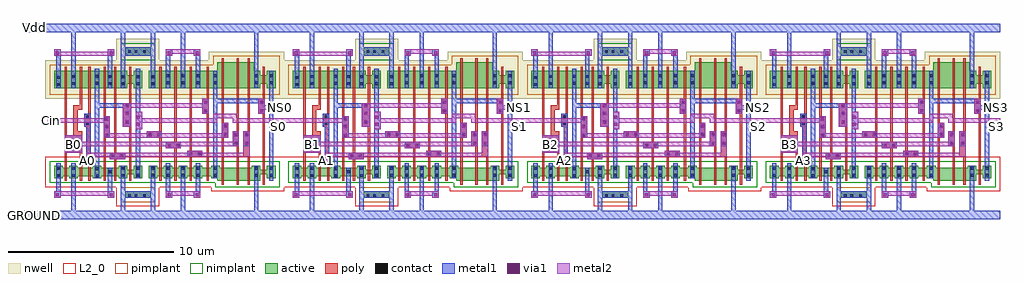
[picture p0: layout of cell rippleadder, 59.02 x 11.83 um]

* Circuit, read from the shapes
.subckt rippleadder A0 A1 A2 A3 B0 B1 B2 B3 Cin Cout GROUND NS0 NS1 NS2 NS3 S0 S1 S2 S3 Vdd
M1 GROUND B0 n1 GROUND nfet w=0.52u l=0.13u
M2 n2 B0 GROUND GROUND nfet w=0.52u l=0.13u
M3 mirroradder_0/NCout A0 n2 GROUND nfet w=0.52u l=0.13u
M4 n1 Cin mirroradder_0/NCout GROUND nfet w=0.52u l=0.13u
M5 GROUND A0 n1 GROUND nfet w=0.52u l=0.13u
M6 mirroradder_1/Cin mirroradder_0/NCout GROUND GROUND nfet w=0.26u l=0.13u
M7 n3 Cin GROUND GROUND nfet w=0.52u l=0.13u
M8 GROUND B0 n3 GROUND nfet w=0.52u l=0.13u
M9 n3 A0 GROUND GROUND nfet w=0.52u l=0.13u
M10 NS0 mirroradder_0/NCout n3 GROUND nfet w=0.52u l=0.13u
M11 n4 Cin NS0 GROUND nfet w=0.78u l=0.13u
M12 n5 B0 n4 GROUND nfet w=0.78u l=0.13u
M13 GROUND A0 n5 GROUND nfet w=0.78u l=0.13u
M14 S0 NS0 GROUND GROUND nfet w=0.26u l=0.13u
M15 GROUND B1 n6 GROUND nfet w=0.52u l=0.13u
M16 n7 B1 GROUND GROUND nfet w=0.52u l=0.13u
M17 mirroradder_1/NCout A1 n7 GROUND nfet w=0.52u l=0.13u
M18 n6 mirroradder_1/Cin mirroradder_1/NCout GROUND nfet w=0.52u l=0.13u
M19 GROUND A1 n6 GROUND nfet w=0.52u l=0.13u
M20 mirroradder_2/Cin mirroradder_1/NCout GROUND GROUND nfet w=0.26u l=0.13u
M21 n8 mirroradder_1/Cin GROUND GROUND nfet w=0.52u l=0.13u
M22 GROUND B1 n8 GROUND nfet w=0.52u l=0.13u
M23 n8 A1 GROUND GROUND nfet w=0.52u l=0.13u
M24 NS1 mirroradder_1/NCout n8 GROUND nfet w=0.52u l=0.13u
M25 n9 mirroradder_1/Cin NS1 GROUND nfet w=0.78u l=0.13u
M26 n10 B1 n9 GROUND nfet w=0.78u l=0.13u
M27 GROUND A1 n10 GROUND nfet w=0.78u l=0.13u
M28 S1 NS1 GROUND GROUND nfet w=0.26u l=0.13u
M29 GROUND B2 n11 GROUND nfet w=0.52u l=0.13u
M30 n12 B2 GROUND GROUND nfet w=0.52u l=0.13u
M31 mirroradder_2/NCout A2 n12 GROUND nfet w=0.52u l=0.13u
M32 n11 mirroradder_2/Cin mirroradder_2/NCout GROUND nfet w=0.52u l=0.13u
M33 GROUND A2 n11 GROUND nfet w=0.52u l=0.13u
M34 mirroradder_3/Cin mirroradder_2/NCout GROUND GROUND nfet w=0.26u l=0.13u
M35 n13 mirroradder_2/Cin GROUND GROUND nfet w=0.52u l=0.13u
M36 GROUND B2 n13 GROUND nfet w=0.52u l=0.13u
M37 n13 A2 GROUND GROUND nfet w=0.52u l=0.13u
M38 NS2 mirroradder_2/NCout n13 GROUND nfet w=0.52u l=0.13u
M39 n14 mirroradder_2/Cin NS2 GROUND nfet w=0.78u l=0.13u
M40 n15 B2 n14 GROUND nfet w=0.78u l=0.13u
M41 GROUND A2 n15 GROUND nfet w=0.78u l=0.13u
M42 S2 NS2 GROUND GROUND nfet w=0.26u l=0.13u
M43 GROUND B3 n16 GROUND nfet w=0.52u l=0.13u
M44 n17 B3 GROUND GROUND nfet w=0.52u l=0.13u
M45 mirroradder_3/NCout A3 n17 GROUND nfet w=0.52u l=0.13u
M46 n16 mirroradder_3/Cin mirroradder_3/NCout GROUND nfet w=0.52u l=0.13u
M47 GROUND A3 n16 GROUND nfet w=0.52u l=0.13u
M48 Cout mirroradder_3/NCout GROUND GROUND nfet w=0.26u l=0.13u
M49 n18 mirroradder_3/Cin GROUND GROUND nfet w=0.52u l=0.13u
M50 GROUND B3 n18 GROUND nfet w=0.52u l=0.13u
M51 n18 A3 GROUND GROUND nfet w=0.52u l=0.13u
M52 NS3 mirroradder_3/NCout n18 GROUND nfet w=0.52u l=0.13u
M53 n19 mirroradder_3/Cin NS3 GROUND nfet w=0.78u l=0.13u
M54 n20 B3 n19 GROUND nfet w=0.78u l=0.13u
M55 GROUND A3 n20 GROUND nfet w=0.78u l=0.13u
M56 S3 NS3 GROUND GROUND nfet w=0.26u l=0.13u
M57 Vdd B0 n21 Vdd pfet w=1.04u l=0.13u
M58 n22 B0 Vdd Vdd pfet w=1.04u l=0.13u
M59 mirroradder_0/NCout A0 n22 Vdd pfet w=1.04u l=0.13u
M60 n21 Cin mirroradder_0/NCout Vdd pfet w=1.04u l=0.13u
M61 Vdd A0 n21 Vdd pfet w=1.04u l=0.13u
M62 mirroradder_1/Cin mirroradder_0/NCout Vdd Vdd pfet w=0.52u l=0.13u
M63 n23 Cin Vdd Vdd pfet w=1.04u l=0.13u
M64 Vdd B0 n23 Vdd pfet w=1.04u l=0.13u
M65 n23 A0 Vdd Vdd pfet w=1.04u l=0.13u
M66 NS0 mirroradder_0/NCout n23 Vdd pfet w=1.04u l=0.13u
M67 n24 Cin NS0 Vdd pfet w=1.56u l=0.13u
M68 n25 B0 n24 Vdd pfet w=1.56u l=0.13u
M69 Vdd A0 n25 Vdd pfet w=1.56u l=0.13u
M70 S0 NS0 Vdd Vdd pfet w=0.52u l=0.13u
M71 Vdd B1 n26 Vdd pfet w=1.04u l=0.13u
M72 n27 B1 Vdd Vdd pfet w=1.04u l=0.13u
M73 mirroradder_1/NCout A1 n27 Vdd pfet w=1.04u l=0.13u
M74 n26 mirroradder_1/Cin mirroradder_1/NCout Vdd pfet w=1.04u l=0.13u
M75 Vdd A1 n26 Vdd pfet w=1.04u l=0.13u
M76 mirroradder_2/Cin mirroradder_1/NCout Vdd Vdd pfet w=0.52u l=0.13u
M77 n28 mirroradder_1/Cin Vdd Vdd pfet w=1.04u l=0.13u
M78 Vdd B1 n28 Vdd pfet w=1.04u l=0.13u
M79 n28 A1 Vdd Vdd pfet w=1.04u l=0.13u
M80 NS1 mirroradder_1/NCout n28 Vdd pfet w=1.04u l=0.13u
M81 n29 mirroradder_1/Cin NS1 Vdd pfet w=1.56u l=0.13u
M82 n30 B1 n29 Vdd pfet w=1.56u l=0.13u
M83 Vdd A1 n30 Vdd pfet w=1.56u l=0.13u
M84 S1 NS1 Vdd Vdd pfet w=0.52u l=0.13u
M85 Vdd B2 n31 Vdd pfet w=1.04u l=0.13u
M86 n32 B2 Vdd Vdd pfet w=1.04u l=0.13u
M87 mirroradder_2/NCout A2 n32 Vdd pfet w=1.04u l=0.13u
M88 n31 mirroradder_2/Cin mirroradder_2/NCout Vdd pfet w=1.04u l=0.13u
M89 Vdd A2 n31 Vdd pfet w=1.04u l=0.13u
M90 mirroradder_3/Cin mirroradder_2/NCout Vdd Vdd pfet w=0.52u l=0.13u
M91 n33 mirroradder_2/Cin Vdd Vdd pfet w=1.04u l=0.13u
M92 Vdd B2 n33 Vdd pfet w=1.04u l=0.13u
M93 n33 A2 Vdd Vdd pfet w=1.04u l=0.13u
M94 NS2 mirroradder_2/NCout n33 Vdd pfet w=1.04u l=0.13u
M95 n34 mirroradder_2/Cin NS2 Vdd pfet w=1.56u l=0.13u
M96 n35 B2 n34 Vdd pfet w=1.56u l=0.13u
M97 Vdd A2 n35 Vdd pfet w=1.56u l=0.13u
M98 S2 NS2 Vdd Vdd pfet w=0.52u l=0.13u
M99 Vdd B3 n36 Vdd pfet w=1.04u l=0.13u
M100 n37 B3 Vdd Vdd pfet w=1.04u l=0.13u
M101 mirroradder_3/NCout A3 n37 Vdd pfet w=1.04u l=0.13u
M102 n36 mirroradder_3/Cin mirroradder_3/NCout Vdd pfet w=1.04u l=0.13u
M103 Vdd A3 n36 Vdd pfet w=1.04u l=0.13u
M104 Cout mirroradder_3/NCout Vdd Vdd pfet w=0.52u l=0.13u
M105 n38 mirroradder_3/Cin Vdd Vdd pfet w=1.04u l=0.13u
M106 Vdd B3 n38 Vdd pfet w=1.04u l=0.13u
M107 n38 A3 Vdd Vdd pfet w=1.04u l=0.13u
M108 NS3 mirroradder_3/NCout n38 Vdd pfet w=1.04u l=0.13u
M109 n39 mirroradder_3/Cin NS3 Vdd pfet w=1.56u l=0.13u
M110 n40 B3 n39 Vdd pfet w=1.56u l=0.13u
M111 Vdd A3 n40 Vdd pfet w=1.56u l=0.13u
M112 S3 NS3 Vdd Vdd pfet w=0.52u l=0.13u
.ends

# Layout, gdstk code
import gdstk
lib = gdstk.Library(unit=1e-6, precision=1e-09)
def R(c, l, rs):  # rectangles x0, y0, x1, y1
    for r in rs: c.add(gdstk.rectangle(r[:2], r[2:], *l))
def A(c, l, x, y, w, h, nx, ny, dx, dy):  # array of equal rectangles
    R(c, l, [(x+i*dx, y+j*dy, x+i*dx+w, y+j*dy+h) for i in range(nx) for j in range(ny)])
def P(c, l, *ps):  # polygons
    for p in ps: c.add(gdstk.Polygon(p, *l))
L2_0 = (2, 0)
nwell = (3, 0)
active = (6, 0)
poly = (17, 0)
pimplant = (25, 0)
nimplant = (26, 0)
contact = (30, 0)
metal1 = (31, 0)
metal2 = (32, 0)
via1 = (51, 0)

mirroradder = lib.new_cell('mirroradder')
P(mirroradder, L2_0, [(-2.73,0.39),(1.56,0.39),(1.56,-0.78),(4.16,-0.78),(4.16,0.39),(7.28,0.39),(7.28,0.13),(11.7,0.13),(11.7,2.21),(-2.73,2.21)])
P(mirroradder, nwell, [(-2.73,5.72),(11.7,5.72),(11.7,8.58),(7.15,8.58),(7.15,8.06),(4.16,8.06),(4.16,9.36),(1.56,9.36),(1.56,8.06),(-2.73,8.06)])
R(mirroradder, active, [(2.08,-0.26,3.64,0.13), (2.08,8.32,3.64,8.84)])
P(mirroradder, active, [(3.51,6.37),(10.27,6.37),(10.27,6.63),(10.66,6.63),(10.66,6.37),(11.18,6.37),(11.18,7.41),(10.66,7.41),(10.66,7.15),(10.27,7.15),(10.27,7.41),(9.88,7.41),(9.88,7.93),(7.67,7.93),(7.67,7.41),(3.51,7.41)],
  [(-2.21,0.91),(-1.69,0.91),(-1.69,1.04),(-1.3,1.04),(-1.3,0.91),(-0.78,0.91),(-0.78,1.04),(0.13,1.04),(0.13,0.91),(0.65,0.91),(0.65,1.04),(1.69,1.04),(1.69,0.91),(2.21,0.91),(2.21,1.17),(2.6,1.17),(2.6,0.91),(3.12,0.91),(3.12,1.69),(2.6,1.69),(2.6,1.43),(2.21,1.43),(2.21,1.69),(1.69,1.69),(1.69,1.56),(0.65,1.56),(0.65,1.69),(0.13,1.69),(0.13,1.56),(-0.78,1.56),(-0.78,1.69),(-1.3,1.69),(-1.3,1.56),(-1.69,1.56),(-1.69,1.69),(-2.21,1.69)],
  [(3.51,0.91),(4.03,0.91),(4.03,1.04),(4.42,1.04),(4.42,0.91),(4.94,0.91),(4.94,1.04),(5.33,1.04),(5.33,0.91),(5.85,0.91),(5.85,1.04),(6.24,1.04),(6.24,0.91),(6.76,0.91),(6.76,1.04),(7.28,1.04),(7.28,0.91),(7.67,0.91),(7.67,0.78),(10.27,0.78),(10.27,1.17),(10.66,1.17),(10.66,0.91),(11.18,0.91),(11.18,1.69),(10.66,1.69),(10.66,1.43),(10.27,1.43),(10.27,1.69),(9.75,1.69),(9.75,1.56),(7.8,1.56),(7.8,1.69),(7.28,1.69),(7.28,1.56),(6.76,1.56),(6.76,1.69),(6.24,1.69),(6.24,1.56),(5.85,1.56),(5.85,1.69),(5.33,1.69),(5.33,1.56),(4.94,1.56),(4.94,1.69),(4.42,1.69),(4.42,1.56),(4.03,1.56),(4.03,1.69),(3.51,1.69)],
  [(-2.21,6.37),(2.21,6.37),(2.21,6.63),(2.6,6.63),(2.6,6.37),(3.12,6.37),(3.12,7.41),(2.6,7.41),(2.6,7.15),(2.21,7.15),(2.21,7.41),(-2.21,7.41)])
R(mirroradder, poly, [(-1.56,0.78,-1.43,7.67), (-1.43,2.495,-0.65,3.51)])
P(mirroradder, poly, [(-1.04,3.51),(-0.65,3.51),(-0.65,0.78),(-0.52,0.78),(-0.52,3.77),(-0.78,3.77),(-0.78,5.07),(-0.52,5.07),(-0.52,7.67),(-0.65,7.67),(-0.65,5.33),(-1.04,5.33)],
  [(-0.39,4.03),(-0.26,4.03),(-0.26,1.82),(-0.13,1.82),(-0.13,0.78),(0,0.78),(0,7.67),(-0.13,7.67),(-0.13,4.81),(-0.39,4.81)],
  [(10.14,4.81),(10.4,4.81),(10.4,0.52),(10.53,0.52),(10.53,7.67),(10.4,7.67),(10.4,5.72),(10.14,5.72)],
  [(0.78,0.78),(0.91,0.78),(0.91,3.38),(1.17,3.38),(1.17,4.68),(0.91,4.68),(0.91,7.67),(0.78,7.67)],
  [(1.95,4.03),(2.34,4.03),(2.34,0.78),(2.47,0.78),(2.47,7.67),(2.34,7.67),(2.34,5.46),(1.95,5.46)],
  [(3.38,3.38),(4.16,3.38),(4.16,0.78),(4.29,0.78),(4.29,7.67),(4.16,7.67),(4.16,3.77),(3.38,3.77)],
  [(5.85,2.21),(5.98,2.21),(5.98,0.78),(6.11,0.78),(6.11,2.21),(6.76,2.21),(6.76,2.6),(6.11,2.6),(6.11,7.67),(5.98,7.67),(5.98,2.6),(5.85,2.6)],
  [(4.55,2.73),(5.07,2.73),(5.07,0.78),(5.2,0.78),(5.2,2.73),(5.46,2.73),(5.46,3.12),(5.2,3.12),(5.2,7.67),(5.07,7.67),(5.07,3.12),(4.55,3.12)],
  [(6.76,4.81),(7.02,4.81),(7.02,0.78),(7.15,0.78),(7.15,7.67),(7.02,7.67),(7.02,5.72),(6.76,5.72)],
  [(7.93,0.52),(8.06,0.52),(8.06,3.38),(8.32,3.38),(8.32,4.29),(8.06,4.29),(8.06,8.19),(7.93,8.19)],
  [(8.58,2.86),(8.84,2.86),(8.84,0.52),(8.97,0.52),(8.97,8.19),(8.84,8.19),(8.84,3.77),(8.58,3.77)],
  [(9.23,2.21),(9.49,2.21),(9.49,0.52),(9.62,0.52),(9.62,8.19),(9.49,8.19),(9.49,3.77),(9.23,3.77)],
  [(1.17,2.08),(1.43,2.08),(1.43,0.78),(1.56,0.78),(1.56,2.08),(2.08,2.08),(2.08,2.47),(1.56,2.47),(1.56,7.67),(1.43,7.67),(1.43,2.47),(1.17,2.47)])
R(mirroradder, pimplant, [(1.82,-0.52,3.9,0.39)])
P(mirroradder, pimplant, [(-2.47,5.98),(11.44,5.98),(11.44,8.32),(7.41,8.32),(7.41,7.8),(-2.47,7.8)])
R(mirroradder, nimplant, [(1.82,8.06,3.9,9.1)])
P(mirroradder, nimplant, [(-2.47,0.65),(7.54,0.65),(7.54,0.39),(11.44,0.39),(11.44,1.95),(-2.47,1.95)])
A(mirroradder, contact, 2.79, 1.025, 0.16, 0.16, 5, 1, 0.91, 0)
A(mirroradder, contact, 2.785, 1.45, 0.16, 0.16, 5, 1, 0.91, 0)
A(mirroradder, contact, 8.06, 3.485, 0.16, 0.16, 3, 1, 0.65, 0)
A(mirroradder, contact, 4.61, 6.615, 0.16, 0.16, 3, 1, 0.91, 0)
A(mirroradder, contact, 4.605, 7.04, 0.16, 0.16, 3, 1, 0.91, 0)
R(mirroradder, contact, [(2.265,-0.2,2.425,-0.04), (2.655,-0.2,2.815,-0.04), (3.175,-0.2,3.335,-0.04), (0.325,0.995,0.485,1.155), (1.875,1.005,2.035,1.165), (-2.03,1.015,-1.87,1.175), (-1.12,1.015,-0.96,1.175), (7.47,1.025,7.63,1.185), (9.94,1.025,10.1,1.185), (10.85,1.025,11.01,1.185), (1.1,1.24,1.26,1.4), (0.32,1.42,0.48,1.58), (1.87,1.43,2.03,1.59), (-2.03,1.44,-1.87,1.6), (-1.125,1.44,-0.965,1.6), (7.465,1.45,7.625,1.61), (9.935,1.45,10.095,1.61), (10.845,1.45,11.005,1.61), (1.27,2.205,1.43,2.365), (1.79,2.205,1.95,2.365), (5.98,2.315,6.14,2.475), (6.5,2.315,6.66,2.475), (-1.49,2.665,-1.33,2.825), (-0.76,2.665,-0.6,2.825), (4.68,2.835,4.84,2.995), (5.2,2.835,5.36,2.995), (8.71,2.965,8.87,3.125), (9.36,2.965,9.52,3.125), (-1.49,3.09,-1.33,3.25), (-0.76,3.09,-0.6,3.25), (0.885,3.45,1.045,3.61), (3.51,3.485,3.67,3.645), (4.03,3.485,4.19,3.645), (0.885,3.97,1.045,4.13), (8.06,4.005,8.22,4.165), (-0.28,4.155,-0.12,4.315), (2.135,4.245,2.295,4.405), (0.88,4.43,1.04,4.59), (-0.28,4.58,-0.12,4.74), (2.135,4.765,2.295,4.925), (6.89,4.915,7.05,5.075), (10.27,4.915,10.43,5.075), (2.13,5.225,2.29,5.385), (6.89,5.435,7.05,5.595), (10.27,5.435,10.43,5.595), (-2.03,6.52,-1.87,6.68), (2.79,6.555,2.95,6.715), (3.7,6.555,3.86,6.715), (1.875,6.56,2.035,6.72), (1.1,6.565,1.26,6.725), (-1.105,6.58,-0.945,6.74), (0.315,6.59,0.475,6.75), (7.47,6.615,7.63,6.775), (9.94,6.615,10.1,6.775), (10.85,6.615,11.01,6.775), (-2.035,6.945,-1.875,7.105), (2.785,6.98,2.945,7.14), (3.695,6.98,3.855,7.14), (1.87,6.985,2.03,7.145), (1.095,6.99,1.255,7.15), (-1.11,7.005,-0.95,7.165), (0.31,7.015,0.47,7.175), (7.465,7.04,7.625,7.2), (9.935,7.04,10.095,7.2), (10.845,7.04,11.005,7.2), (2.265,8.51,2.425,8.67), (2.655,8.51,2.815,8.67), (3.175,8.51,3.335,8.67)])
R(mirroradder, metal1, [(-2.73,-1.56,11.7,-1.04), (-1.17,-1.04,-0.91,1.82), (5.46,-1.04,5.72,1.69), (9.88,-1.04,10.14,1.69), (0.26,0.91,0.52,7.54), (1.17,2.08,2.08,2.47), (5.85,2.21,6.76,2.6), (-1.56,2.47,-0.52,3.51), (4.55,2.73,5.46,3.12), (8.58,2.86,8.97,3.77), (9.23,2.86,9.62,3.77), (0.78,3.38,1.17,4.68), (3.38,3.38,4.29,3.77), (7.93,3.38,8.32,4.29), (6.76,4.81,7.15,5.72), (-1.17,6.37,-0.91,9.75), (5.46,6.37,5.72,9.75), (9.88,6.37,10.14,9.75), (-2.73,9.75,11.7,10.27)])
P(mirroradder, metal1, [(10.79,0.78),(11.05,0.78),(11.05,3.9),(11.7,3.9),(11.7,4.16),(11.05,4.16),(11.05,7.41),(10.79,7.41)],
  [(7.41,0.91),(7.67,0.91),(7.67,5.46),(10.14,5.46),(10.14,4.81),(10.53,4.81),(10.53,5.72),(7.67,5.72),(7.67,7.41),(7.41,7.41)],
  [(6.24,-0.26),(6.63,-0.26),(6.63,1.82),(6.37,1.82),(6.37,0.13),(6.24,0.13)],
  [(1.04,6.37),(1.3,6.37),(1.3,8.32),(1.43,8.32),(1.43,8.71),(1.04,8.71)],
  [(-2.21,-0.26),(-1.82,-0.26),(-1.82,1.82),(-2.08,1.82),(-2.08,0.13),(-2.21,0.13)],
  [(2.73,0.91),(2.99,0.91),(2.99,3.9),(3.12,3.9),(3.12,4.94),(2.99,4.94),(2.99,7.54),(2.73,7.54)],
  [(-2.21,8.32),(-2.08,8.32),(-2.08,6.37),(-1.82,6.37),(-1.82,8.71),(-2.21,8.71)],
  [(1.82,-1.04),(2.08,-1.04),(2.08,-0.26),(3.64,-0.26),(3.64,-1.04),(3.9,-1.04),(3.9,1.69),(3.64,1.69),(3.64,0.13),(2.08,0.13),(2.08,1.69),(1.82,1.69)],
  [(-0.39,1.82),(0,1.82),(0,4.81),(-0.39,4.81),(-0.39,4.03),(-0.26,4.03),(-0.26,2.21),(-0.39,2.21)],
  [(1.82,6.37),(2.08,6.37),(2.08,8.32),(3.64,8.32),(3.64,6.37),(3.9,6.37),(3.9,9.75),(3.64,9.75),(3.64,8.84),(2.08,8.84),(2.08,9.75),(1.82,9.75)],
  [(1.04,-0.26),(1.43,-0.26),(1.43,0.13),(1.3,0.13),(1.3,1.56),(1.04,1.56)],
  [(4.55,-0.26),(4.94,-0.26),(4.94,0.13),(4.81,0.13),(4.81,1.82),(4.55,1.82)],
  [(4.55,6.37),(4.81,6.37),(4.81,8.32),(4.94,8.32),(4.94,8.71),(4.55,8.71)],
  [(6.24,8.32),(6.37,8.32),(6.37,6.37),(6.63,6.37),(6.63,8.71),(6.24,8.71)],
  [(0.52,5.2),(1.95,5.2),(1.95,4.03),(2.47,4.03),(2.47,5.46),(0.52,5.46)])
P(mirroradder, metal2, [(2.73,3.9),(3.12,3.9),(3.12,4.29),(7.67,4.29),(7.67,4.55),(8.58,4.55),(8.58,4.29),(11.7,4.29),(11.7,4.55),(8.84,4.55),(8.84,4.81),(7.41,4.81),(7.41,4.55),(3.12,4.55),(3.12,4.94),(2.73,4.94)],
  [(-0.39,1.82),(0,1.82),(0,2.21),(1.17,2.21),(1.17,2.08),(2.08,2.08),(2.08,2.21),(9.62,2.21),(9.62,3.77),(9.23,3.77),(9.23,2.47),(6.76,2.47),(6.76,2.6),(5.85,2.6),(5.85,2.47),(-0.26,2.47),(-0.26,2.21),(-0.39,2.21)],
  [(-1.56,2.47),(-0.52,2.47),(-0.52,2.86),(4.55,2.86),(4.55,2.73),(5.46,2.73),(5.46,2.86),(8.97,2.86),(8.97,3.77),(8.58,3.77),(8.58,3.12),(-0.52,3.12),(-0.52,3.51),(-1.56,3.51)],
  [(-2.6,4.29),(0.78,4.29),(0.78,3.38),(8.32,3.38),(8.32,4.29),(7.93,4.29),(7.93,3.64),(4.29,3.64),(4.29,3.77),(3.38,3.77),(3.38,3.64),(1.17,3.64),(1.17,4.68),(0.78,4.68),(0.78,4.55),(-2.6,4.55)],
  [(-2.21,8.32),(1.43,8.32),(1.43,8.71),(1.04,8.71),(1.04,8.58),(-1.82,8.58),(-1.82,8.71),(-2.21,8.71)],
  [(4.55,8.32),(4.94,8.32),(4.94,8.45),(6.24,8.45),(6.24,8.32),(6.63,8.32),(6.63,8.71),(4.55,8.71)],
  [(-2.21,-0.26),(-1.82,-0.26),(-1.82,-0.13),(1.04,-0.13),(1.04,-0.26),(1.43,-0.26),(1.43,0.13),(-2.21,0.13)],
  [(4.55,-0.26),(4.94,-0.26),(4.94,-0.13),(6.24,-0.13),(6.24,-0.26),(6.63,-0.26),(6.63,0.13),(4.55,0.13)],
  [(1.95,4.03),(2.47,4.03),(2.47,5.2),(6.76,5.2),(6.76,4.81),(7.15,4.81),(7.15,5.72),(6.76,5.72),(6.76,5.46),(1.95,5.46)],
  [(10.14,4.81),(10.53,4.81),(10.53,5.07),(11.7,5.07),(11.7,5.33),(10.53,5.33),(10.53,5.72),(10.14,5.72)])
A(mirroradder, via1, 8.045, 3.47, 0.19, 0.19, 3, 1, 0.65, 0)
R(mirroradder, via1, [(-2.105,-0.175,-1.915,0.015), (1.145,-0.175,1.335,0.015), (4.655,-0.175,4.845,0.015), (6.345,-0.175,6.535,0.015), (-0.285,1.905,-0.095,2.095), (1.255,2.19,1.445,2.38), (1.775,2.19,1.965,2.38), (5.965,2.3,6.155,2.49), (6.485,2.3,6.675,2.49), (-1.11,2.665,-0.92,2.855), (4.665,2.82,4.855,3.01), (5.185,2.82,5.375,3.01), (8.695,2.95,8.885,3.14), (9.345,2.95,9.535,3.14), (-1.11,3.09,-0.92,3.28), (0.87,3.435,1.06,3.625), (3.495,3.47,3.685,3.66), (4.015,3.47,4.205,3.66), (0.87,3.955,1.06,4.145), (8.045,3.99,8.235,4.18), (2.79,4.095,2.98,4.285), (2.12,4.23,2.31,4.42), (0.865,4.415,1.055,4.605), (2.79,4.52,2.98,4.71), (2.12,4.75,2.31,4.94), (6.875,4.9,7.065,5.09), (10.255,4.9,10.445,5.09), (2.115,5.21,2.305,5.4), (6.875,5.42,7.065,5.61), (10.255,5.42,10.445,5.61), (-2.105,8.405,-1.915,8.595), (1.145,8.405,1.335,8.595), (4.655,8.405,4.845,8.595), (6.345,8.405,6.535,8.595)])
mirroradder.add(gdstk.Label('A', (-0.39,1.82), layer=132, texttype=0))
mirroradder.add(gdstk.Label('B', (-1.56,2.47), layer=132, texttype=0))
mirroradder.add(gdstk.Label('Cin', (0.78,3.38), layer=132, texttype=0))
mirroradder.add(gdstk.Label('Cout', (2.73,3.9), layer=132, texttype=0))
mirroradder.add(gdstk.Label('S', (10.79,0.78), layer=131, texttype=0))
mirroradder.add(gdstk.Label('VDD', (4.485,10.01), layer=131, texttype=0))
mirroradder.add(gdstk.Label('NS', (7.41,0.91), layer=131, texttype=0))
mirroradder.add(gdstk.Label('GROUND', (4.485,-1.3), layer=131, texttype=0))
mirroradder.add(gdstk.Label('A', (-0.39,1.82), layer=32, texttype=0))
mirroradder.add(gdstk.Label('S', (10.79,0.78), layer=31, texttype=0))
mirroradder.add(gdstk.Label('VDD', (4.485,10.01), layer=31, texttype=0))
mirroradder.add(gdstk.Label('B', (-1.56,2.47), layer=32, texttype=0))
mirroradder.add(gdstk.Label('Cin', (-2.6,4.29), layer=32, texttype=0))
mirroradder.add(gdstk.Label('Cout', (2.73,3.9), layer=32, texttype=0))
mirroradder.add(gdstk.Label('NS', (7.41,0.91), layer=31, texttype=0))
mirroradder.add(gdstk.Label('GROUND', (4.485,-1.3), layer=31, texttype=0))
mirroradder.add(gdstk.Label('NCout', (0.39,4.225), layer=31, texttype=0))

rippleadder = lib.new_cell('rippleadder')
A(rippleadder, metal1, 24.57, 4.16, 0.39, 0.26, 3, 1, 14.43, 0)
R(rippleadder, metal1, [(-5.2,-1.3,-3.9,-0.78), (-1.56,2.08,-1.17,2.47), (-2.73,2.73,-1.69,3.77), (9.88,4.16,10.53,4.42), (-5.2,10.01,-3.9,10.53)])
A(rippleadder, metal2, 12.87, 2.08, 0.39, 0.39, 3, 1, 14.43, 0)
A(rippleadder, metal2, 11.7, 2.73, 1.04, 1.04, 3, 1, 14.43, 0)
A(rippleadder, metal2, 10.53, 4.55, 0.13, 0.26, 3, 1, 14.43, 0)
A(rippleadder, metal2, 10.14, 5.33, 0.39, 0.26, 4, 1, 14.43, 0)
R(rippleadder, metal2, [(-3.77,4.55,-3.25,4.81), (53.43,4.55,53.82,4.81)])
rippleadder.add(gdstk.Reference(mirroradder, (-1.17,0.26)))
rippleadder.add(gdstk.Reference(mirroradder, (13.26,0.26)))
rippleadder.add(gdstk.Reference(mirroradder, (27.69,0.26)))
rippleadder.add(gdstk.Reference(mirroradder, (42.12,0.26)))
rippleadder.add(gdstk.Label('Cin', (-3.51,4.68), layer=132, texttype=0))
rippleadder.add(gdstk.Label('NS0', (10.335,5.46), layer=132, texttype=0))
rippleadder.add(gdstk.Label('A1', (13.065,2.275), layer=132, texttype=0))
rippleadder.add(gdstk.Label('B1', (12.22,3.25), layer=132, texttype=0))
rippleadder.add(gdstk.Label('B2', (26.65,3.25), layer=132, texttype=0))
rippleadder.add(gdstk.Label('A2', (27.495,2.275), layer=132, texttype=0))
rippleadder.add(gdstk.Label('B3', (41.08,3.25), layer=132, texttype=0))
rippleadder.add(gdstk.Label('A3', (41.925,2.275), layer=132, texttype=0))
rippleadder.add(gdstk.Label('NS1', (24.765,5.46), layer=132, texttype=0))
rippleadder.add(gdstk.Label('NS2', (39.195,5.46), layer=132, texttype=0))
rippleadder.add(gdstk.Label('NS3', (53.625,5.46), layer=132, texttype=0))
rippleadder.add(gdstk.Label('Cout', (53.625,4.68), layer=132, texttype=0))
rippleadder.add(gdstk.Label('Vdd', (-4.55,10.27), layer=131, texttype=0))
rippleadder.add(gdstk.Label('S3', (53.625,4.29), layer=131, texttype=0))
rippleadder.add(gdstk.Label('A0', (-1.365,2.275), layer=131, texttype=0))
rippleadder.add(gdstk.Label('B0', (-2.21,3.25), layer=131, texttype=0))
rippleadder.add(gdstk.Label('S0', (10.205,4.29), layer=131, texttype=0))
rippleadder.add(gdstk.Label('S1', (24.765,4.29), layer=131, texttype=0))
rippleadder.add(gdstk.Label('S2', (39.195,4.29), layer=131, texttype=0))
rippleadder.add(gdstk.Label('GROUND', (-4.55,-1.04), layer=131, texttype=0))
rippleadder.add(gdstk.Label('Vdd', (-4.55,10.27), layer=31, texttype=0))
rippleadder.add(gdstk.Label('S3', (53.625,4.29), layer=31, texttype=0))
rippleadder.add(gdstk.Label('A0', (-1.365,2.275), layer=31, texttype=0))
rippleadder.add(gdstk.Label('B0', (-2.21,3.25), layer=31, texttype=0))
rippleadder.add(gdstk.Label('Cin', (-3.51,4.68), layer=32, texttype=0))
rippleadder.add(gdstk.Label('S0', (10.205,4.29), layer=31, texttype=0))
rippleadder.add(gdstk.Label('NS0', (10.335,5.46), layer=32, texttype=0))
rippleadder.add(gdstk.Label('A1', (13.065,2.275), layer=32, texttype=0))
rippleadder.add(gdstk.Label('B1', (12.22,3.25), layer=32, texttype=0))
rippleadder.add(gdstk.Label('B2', (26.65,3.25), layer=32, texttype=0))
rippleadder.add(gdstk.Label('A2', (27.495,2.275), layer=32, texttype=0))
rippleadder.add(gdstk.Label('B3', (41.08,3.25), layer=32, texttype=0))
rippleadder.add(gdstk.Label('A3', (41.925,2.275), layer=32, texttype=0))
rippleadder.add(gdstk.Label('NS1', (24.765,5.46), layer=32, texttype=0))
rippleadder.add(gdstk.Label('S1', (24.765,4.29), layer=31, texttype=0))
rippleadder.add(gdstk.Label('S2', (39.195,4.29), layer=31, texttype=0))
rippleadder.add(gdstk.Label('NS2', (39.195,5.46), layer=32, texttype=0))
rippleadder.add(gdstk.Label('NS3', (53.625,5.46), layer=32, texttype=0))
rippleadder.add(gdstk.Label('Cout', (53.625,4.68), layer=32, texttype=0))
rippleadder.add(gdstk.Label('GROUND', (-4.55,-1.04), layer=31, texttype=0))

lib.write_gds('rippleadder.gds')
